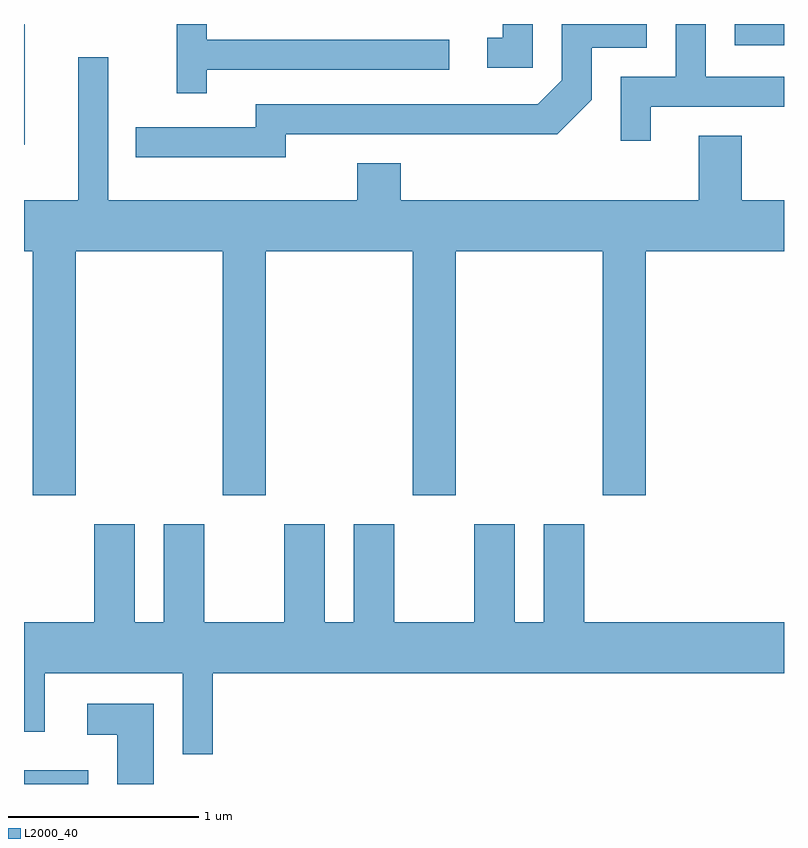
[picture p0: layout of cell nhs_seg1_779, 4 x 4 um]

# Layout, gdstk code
import gdstk
lib = gdstk.Library(unit=1e-6, precision=1e-09)
def R(c, l, rs):  # rectangles x0, y0, x1, y1
    for r in rs: c.add(gdstk.rectangle(r[:2], r[2:], *l))
def P(c, l, *ps):  # polygons
    for p in ps: c.add(gdstk.Polygon(p, *l))
L2000_40 = (2000, 40)

nhs_seg1_779 = lib.new_cell('nhs_seg1_779')
R(nhs_seg1_779, L2000_40, [(209.611,845.712,209.949,845.784), (209.611,849.076,209.614,849.712), (213.351,849.601,213.611,849.712)])
P(nhs_seg1_779, L2000_40, [(210.574,849.471),(211.848,849.471),(211.848,849.629),(210.574,849.629),(210.574,849.712),(210.416,849.712),(210.416,849.348),(210.574,849.348)],
  [(212.909,849.276),(213.611,849.276),(213.611,849.434),(213.199,849.434),(213.199,849.712),(213.041,849.712),(213.041,849.434),(212.751,849.434),(212.751,849.098),(212.909,849.098)],
  [(210.989,849.131),(212.417,849.131),(212.599,849.314),(212.599,849.586),(212.889,849.586),(212.889,849.712),(212.441,849.712),(212.441,849.417),(212.314,849.289),(210.831,849.289),(210.831,849.169),(210.198,849.169),(210.198,849.011),(210.989,849.011)],
  [(212.289,849.712),(212.131,849.712),(212.131,849.639),(212.048,849.639),(212.048,849.481),(212.289,849.481)],
  [(213.161,849.124),(213.161,848.784),(211.594,848.784),(211.594,848.979),(211.366,848.979),(211.366,848.784),(210.054,848.784),(210.054,849.538),(209.896,849.538),(209.896,848.784),(209.611,848.784),(209.611,848.516),(209.656,848.516),(209.656,847.231),(209.884,847.231),(209.884,848.516),(210.656,848.516),(210.656,847.231),(210.884,847.231),(210.884,848.516),(211.656,848.516),(211.656,847.231),(211.884,847.231),(211.884,848.516),(212.656,848.516),(212.656,847.231),(212.884,847.231),(212.884,848.516),(213.611,848.516),(213.611,848.784),(213.389,848.784),(213.389,849.124)],
  [(210.604,846.296),(213.611,846.296),(213.611,846.564),(212.559,846.564),(212.559,847.079),(212.346,847.079),(212.346,846.564),(212.194,846.564),(212.194,847.079),(211.981,847.079),(211.981,846.564),(211.559,846.564),(211.559,847.079),(211.346,847.079),(211.346,846.564),(211.194,846.564),(211.194,847.079),(210.981,847.079),(210.981,846.564),(210.559,846.564),(210.559,847.079),(210.346,847.079),(210.346,846.564),(210.194,846.564),(210.194,847.079),(209.981,847.079),(209.981,846.564),(209.611,846.564),(209.611,845.986),(209.719,845.986),(209.719,846.296),(210.446,846.296),(210.446,845.868),(210.604,845.868)],
  [(210.294,846.134),(209.943,846.134),(209.943,845.971),(210.101,845.971),(210.101,845.712),(210.294,845.712)])

lib.write_gds('nhs_seg1_779.gds')
